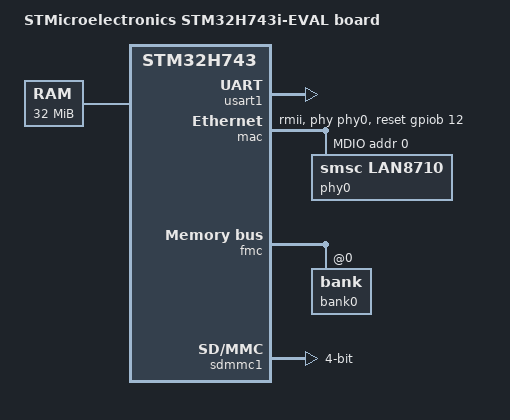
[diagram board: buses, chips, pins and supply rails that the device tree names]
/*
 * Copyright 2017 - Alexandre Torgue <alexandre.torgue@st.com>
 *
 * This file is dual-licensed: you can use it either under the terms
 * of the GPL or the X11 license, at your option. Note that this dual
 * licensing only applies to this file, and not this project as a
 * whole.
 *
 *  a) This file is free software; you can redistribute it and/or
 *     modify it under the terms of the GNU General Public License as
 *     published by the Free Software Foundation; either version 2 of the
 *     License, or (at your option) any later version.
 *
 *     This file is distributed in the hope that it will be useful,
 *     but WITHOUT ANY WARRANTY; without even the implied warranty of
 *     MERCHANTABILITY or FITNESS FOR A PARTICULAR PURPOSE.  See the
 *     GNU General Public License for more details.
 *
 * Or, alternatively,
 *
 *  b) Permission is hereby granted, free of charge, to any person
 *     obtaining a copy of this software and associated documentation
 *     files (the "Software"), to deal in the Software without
 *     restriction, including without limitation the rights to use,
 *     copy, modify, merge, publish, distribute, sublicense, and/or
 *     sell copies of the Software, and to permit persons to whom the
 *     Software is furnished to do so, subject to the following
 *     conditions:
 *
 *     The above copyright notice and this permission notice shall be
 *     included in all copies or substantial portions of the Software.
 *
 *     THE SOFTWARE IS PROVIDED "AS IS", WITHOUT WARRANTY OF ANY KIND,
 *     EXPRESS OR IMPLIED, INCLUDING BUT NOT LIMITED TO THE WARRANTIES
 *     OF MERCHANTABILITY, FITNESS FOR A PARTICULAR PURPOSE AND
 *     NONINFRINGEMENT. IN NO EVENT SHALL THE AUTHORS OR COPYRIGHT
 *     HOLDERS BE LIABLE FOR ANY CLAIM, DAMAGES OR OTHER LIABILITY,
 *     WHETHER IN AN ACTION OF CONTRACT, TORT OR OTHERWISE, ARISING
 *     FROM, OUT OF OR IN CONNECTION WITH THE SOFTWARE OR THE USE OR
 *     OTHER DEALINGS IN THE SOFTWARE.
 */

/dts-v1/;
#include "stm32h743.dtsi"
#include "stm32h743-pinctrl.dtsi"
#include <dt-bindings/memory/stm32-sdram.h>

/ {
	model = "STMicroelectronics STM32H743i-EVAL board";
	compatible = "st,stm32h743i-eval", "st,stm32h743";

	chosen {
		bootargs = "root=/dev/ram";
		stdout-path = "serial0:115200n8";
	};

	memory {
		reg = <0xc0000000 0x2000000>;
	};

	aliases {
		serial0 = &usart1;
		mmc0 = &sdmmc1;
		eth0 = &mac;
		gpio0 = &gpioa;
		gpio1 = &gpiob;
		gpio2 = &gpioc;
		gpio3 = &gpiod;
		gpio4 = &gpioe;
		gpio5 = &gpiof;
		gpio6 = &gpiog;
		gpio7 = &gpioh;
		gpio8 = &gpioi;
		gpio9 = &gpioj;
		gpio10 = &gpiok;
	};
};

&usart1 {
	pinctrl-0 = <&usart1_pins>;
	pinctrl-names = "default";
	status = "okay"; 
};

&mac {
	status = "okay";
	local-mac-address = [aa 0a 0b 0c 0d dd];
	pinctrl-0 = <&ethernet_mii>;
	phy-mode = "rmii";
	phy-handle = <&phy0>;
	clock_in_out = "input";
	snps,reset-gpio = <&gpiob 12 0>;
	snps,reset-delays-us = <0 10000 1000000>;
	mdio0 {
		#address-cells = <1>;
		#size-cells = <0>;
		compatible = "snps,dwmac-mdio";
		phy0: ethernet-phy@0 {
			compatible = "smsc,lan8710","smsc,lan8720";
                        reg = <0>;
		};
	};
};

&fmc {
	pinctrl-0 = <&fmc_pins>;
	pinctrl-names = "default";
	status = "okay";

	/*
	 * Memory configuration from sdram datasheet IS42S32800G-6BLI
	 * firsct bank is bank@0
	 * second bank is bank@1
	 */
	bank0: bank@0 {
		st,sdram-control = /bits/ 8 <NO_COL_9 NO_ROW_13 MWIDTH_16 BANKS_4
				  CAS_2 SDCLK_2 RD_BURST_EN RD_PIPE_DL_0>;
		st,sdram-timing = /bits/ 8 <TMRD_2 TXSR_8 TRAS_5 TRC_7 TRP_2
				  TWR_2 TRCD_2>;
		st,sdram-refcount = <761>;
	};
};
&sdmmc1 {
	status = "okay";
	pinctrl-0 = <&sdmmc1_pins>;
	pinctrl-names = "default";
	bus-width = <4>;
	st,dirpol;
};
